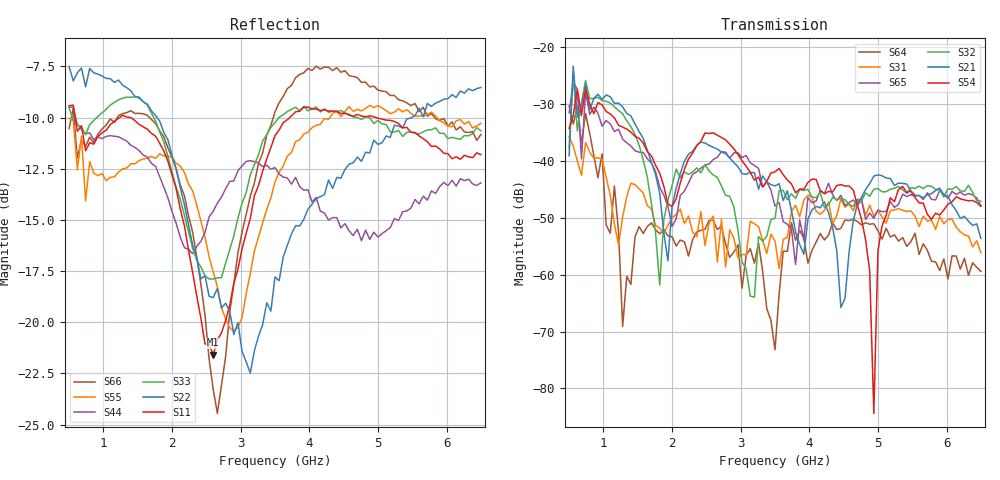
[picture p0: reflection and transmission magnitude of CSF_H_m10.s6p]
!Keysight Technologies,M9804A,MY58100912,A.14.10.03
!Date: Thursday, April 27, 2023 10:28:33
!Correction: S11(C  6-Port  )
!S12(C  6-Port  )
!S13(C  6-Port  )
!S14(C  6-Port  )
!S15(C  6-Port  )
!S16(C  6-Port  )
!S21(C  6-Port  )
!S22(C  6-Port  )
!S23(C  6-Port  )
!S24(C  6-Port  )
!S25(C  6-Port  )
!S26(C  6-Port  )
!S31(C  6-Port  )
!S32(C  6-Port  )
!S33(C  6-Port  )
!S34(C  6-Port  )
!S35(C  6-Port  )
!S36(C  6-Port  )
!S41(C  6-Port  )
!S42(C  6-Port  )
!S43(C  6-Port  )
!S44(C  6-Port  )
!S45(C  6-Port  )
!S46(C  6-Port  )
!S51(C  6-Port  )
!S52(C  6-Port  )
!S53(C  6-Port  )
!S54(C  6-Port  )
!S55(C  6-Port  )
!S56(C  6-Port  )
!S61(C  6-Port  )
!S62(C  6-Port  )
!S63(C  6-Port  )
!S64(C  6-Port  )
!S65(C  6-Port  )
!S66(C  6-Port  )
!S6P File: Measurement: :
# Hz S  RI  R 50
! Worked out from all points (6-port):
!   101 points, 500 MHz to 6.5 GHz, reference 50 ohm
!   strongest paths, dB at 500 MHz, 2 GHz, 3.5 GHz, 5 GHz, 6.5 GHz:
!     S54: -34.3, -48.0, -41.9, -55.8, -48.0
!     S21: -39.1, -48.0, -44.4, -42.5, -53.7
!     S32: -37.7, -44.3, -50.1, -44.9, -47.1
!     S65: -31.6, -51.5, -47.9, -48.7, -47.9
!     S31: -35.8, -50.0, -54.1, -48.7, -56.2
!     S64: -30.4, -53.3, -73.2, -52.3, -59.4
!   lowest |S11| = -21.6 dB at 2.6 GHz (marker M1), VSWR 1.18, Z = 42.6 + j2 ohm
!   |S11| at or under -10 dB: 588.3 MHz to 1.237 GHz (648.2 MHz wide, 71 % of centre); 1.39 GHz to 3.714 GHz (2.325 GHz wide, 91.1 % of centre); 4.971 GHz to end of sweep
